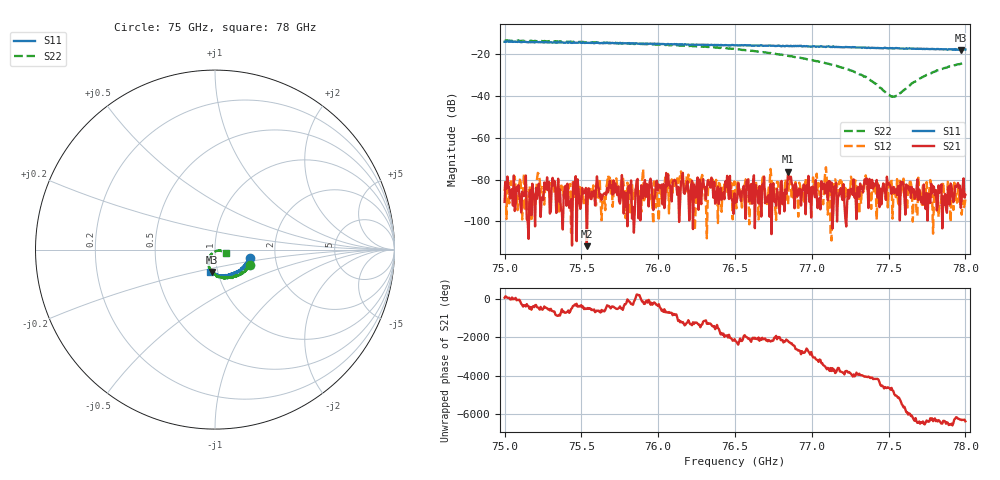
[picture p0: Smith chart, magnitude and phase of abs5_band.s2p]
# Hz S MA R 50
! CMT, C4420, 21421029, 25.1.2/3
! Date: 8/7/2025 4:26:35 PM
! Data: Format (Calibration Info)
! Freq	S33:Mag/Ang(F2)	S43:Mag/Ang(F2)	S34:Mag/Ang(F2)	S44:Mag/Ang(F2)
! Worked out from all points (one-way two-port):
!   500 points, 75 GHz to 78 GHz, reference 50 ohm
!   highest |S21| = -76.13 dB at 76.846 GHz (marker M1); lowest = -111.8 dB at 75.535 GHz (marker M2)
!   lowest |S11| = -18.0 dB at 77.97 GHz (marker M3), VSWR 1.29, Z = 46.9 - j11.8 ohm
!   |S11| at or under -10 dB: start of sweep to end of sweep
!   |S22| runs from -40.4 to -13.4 dB; largest |S21 - S12| = 0.0002
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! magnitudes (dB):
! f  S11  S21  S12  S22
! 75 GHz  -14.1  -90.7  -85.4  -13.5
! 75.198 GHz  -14.3  -102.4  -91.9  -13.6
! 75.21 GHz  -14.2  -89.2  -80.0  -13.8
! 75.505 GHz  -14.6  -83.9  -89.8  -14.1
! 75.535 GHz  -14.6  -111.8  -85.1  -14.4
! 76.004 GHz  -15.1  -82.4  -99.8  -15.4
! 76.058 GHz  -15.2  -83.2  -82.8  -15.5
! 76.106 GHz  -15.1  -80.1  -82.8  -15.8
! 76.136 GHz  -15.3  -100.2  -79.6  -15.8
! 76.166 GHz  -15.4  -86.2  -82.5  -16.0
! 76.503 GHz  -15.8  -91.0  -85.2  -17.6
! 76.846 GHz  -16.1  -76.1  -91.8  -20.8
! 77.002 GHz  -16.3  -83.5  -88.3  -22.9
! 77.068 GHz  -16.3  -84.5  -89.5  -23.9
! 77.098 GHz  -16.3  -81.4  -80.6  -24.4
! 77.11 GHz  -16.3  -80.7  -84.0  -24.6
! 77.291 GHz  -16.8  -98.9  -87.8  -28.7
! 77.501 GHz  -17.3  -81.7  -81.8  -39.4
! 77.549 GHz  -17.1  -84.4  -89.7  -39.9
! 77.735 GHz  -17.6  -89.9  -84.6  -30.4
! 77.97 GHz  -18.0  -93.5  -90.8  -24.6
! 78 GHz  -17.8  -87.2  -89.3  -24.1
